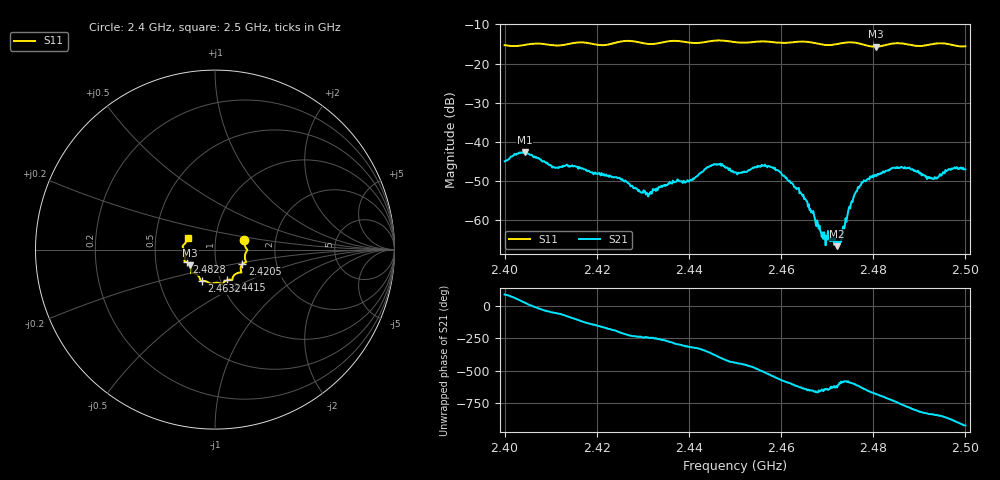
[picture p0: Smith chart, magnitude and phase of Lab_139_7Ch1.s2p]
# Hz S RI R 50
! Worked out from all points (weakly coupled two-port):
!   601 points, 2.4 GHz to 2.5 GHz, reference 50 ohm
!   highest |S21| = -42.74 dB at 2.4043 GHz (marker M1); lowest = -66.8 dB at 2.4722 GHz (marker M2)
!   lowest |S11| = -15.7 dB at 2.4805 GHz (marker M3), VSWR 1.39, Z = 37.3 - j6.7 ohm
!   |S11| at or under -10 dB: start of sweep to end of sweep
!   S12 and S22 are empty: the file has one direction only
!   S11 on the Smith chart (normalised r, x): 2.4 GHz: 1.38, +0.15; 2.4205 GHz: 1.34, -0.22; 2.4415 GHz: 1.07, -0.38; 2.4632 GHz: 0.82, -0.29; 2.4828 GHz: 0.72, -0.10; 2.5 GHz: 0.73, +0.10
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2.4e9  0.1634 0.0517  0.000337 0.00559  0 0  0 0
2.404333e9  0.173 0.00803  0.00666 0.00297  0 0  0 0
2.410833e9  0.1686 -0.0238  0.00267 -0.00386  0 0  0 0
2.416667e9  0.173 -0.0699  -0.00223 -0.00396  0 0  0 0
2.4205e9  0.1519 -0.0816  -0.00365 -0.00163  0 0  0 0
2.431e9  0.118 -0.1337  -0.00098 0.00195  0 0  0 0
2.433333e9  0.1003 -0.1516  -0.00068 0.00245  0 0  0 0
2.4415e9  0.0656 -0.1706  0.00283 0.00214  0 0  0 0
2.445667e9  0.042 -0.1918  0.00481 -0.00173  0 0  0 0
2.45e9  0.0242 -0.1864  0.000866 -0.00396  0 0  0 0
2.457667e9  -0.0296 -0.187  -0.0047 -0.00066  0 0  0 0
2.463167e9  -0.0732 -0.174  -0.000752 0.00249  0 0  0 0
2.466667e9  -0.0822 -0.1669  0.000492 0.00119  0 0  0 0
2.469167e9  -0.0921 -0.1478  0.000252 0.00051  0 0  0 0
2.472167e9  -0.1198 -0.1308  -1.19e-05 0.00046  0 0  0 0
2.472667e9  -0.1239 -0.1303  -0.000301 0.000407  0 0  0 0
2.476333e9  -0.1332 -0.1265  -0.000767 0.00218  0 0  0 0
2.4805e9  -0.1388 -0.0874  0.00278 0.00241  0 0  0 0
2.482833e9  -0.1585 -0.07  0.00415 0.000833  0 0  0 0
2.483333e9  -0.1625 -0.0681  0.00425 0.000297  0 0  0 0
2.493333e9  -0.1789 0.0115  -0.00164 -0.00311  0 0  0 0
2.5e9  -0.1527 0.0644  -0.00416 0.00151  0 0  0 0
